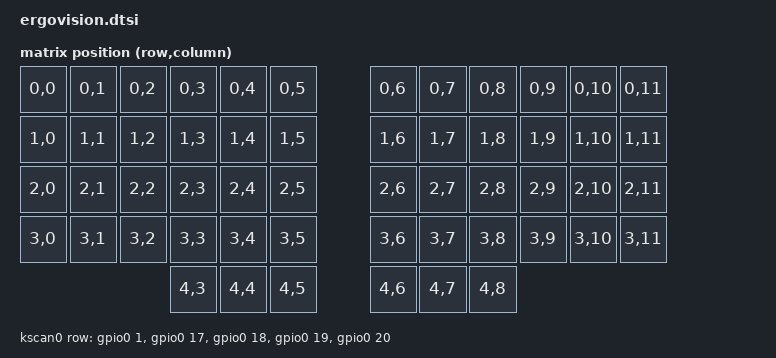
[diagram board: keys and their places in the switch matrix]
#include <dt-bindings/zmk/matrix_transform.h>


&uart0 {
    status = "okay";
};

&uart1 {
    status = "okay";
};

&i2c1 {
    status = "okay";
    sda-pin = <5>;
    scl-pin = <6>;
    clock-frequency = <I2C_BITRATE_FAST>;
    pinctrl-0 = <&i2c1_pins>;
};


pinctrl {
    i2c1_pins: i2c1_pins {
        nordic,pin-sda = <5>;
        nordic,pin-scl = <6>;
        /* Additional pin configurations if needed */
    };
};


&gpio0 {
    status = "okay";
};
 {
    chosen {
        zmk,kscan = &kscan0;
        zmk,matrix_transform = &default_transform;
        zephyr,console = &uart0;
        zephyr,shell-uart = &uart0;
        zephyr,bt-uart = &uart1;
    };

    default_transform: keymap_transform_0 {
        compatible = "zmk,matrix-transform";
        columns = <12>;
        rows = <5>;

        map = <
            RC(0,0) RC(0,1) RC(0,2) RC(0,3) RC(0,4) RC(0,5)                RC(0,6) RC(0,7) RC(0,8) RC(0,9) RC(0,10) RC(0,11)
            RC(1,0) RC(1,1) RC(1,2) RC(1,3) RC(1,4) RC(1,5)                RC(1,6) RC(1,7) RC(1,8) RC(1,9) RC(1,10) RC(1,11)
            RC(2,0) RC(2,1) RC(2,2) RC(2,3) RC(2,4) RC(2,5)                RC(2,6) RC(2,7) RC(2,8) RC(2,9) RC(2,10) RC(2,11)
            RC(3,0) RC(3,1) RC(3,2) RC(3,3) RC(3,4) RC(3,5)                RC(3,6) RC(3,7) RC(3,8) RC(3,9) RC(3,10) RC(3,11)                        
                                    RC(4,3) RC(4,4) RC(4,5)                RC(4,6) RC(4,7) RC(4,8)
        >;
    };

    kscan0: kscan {
        compatible = "zmk,kscan-gpio-matrix";
        label = "KSCAN";

        diode-direction = "row2col";
        row-gpios = <&gpio0 1 GPIO_ACTIVE_HIGH>,
                    <&gpio0 17 GPIO_ACTIVE_HIGH>,
                    <&gpio0 18 GPIO_ACTIVE_HIGH>,
                    <&gpio0 19 GPIO_ACTIVE_HIGH>,
                    <&gpio0 20 GPIO_ACTIVE_HIGH>;
    };

    trackpad0: trackpad0 {
        compatible = "cirque,trackpad";
        label = "Trackpad0";
        status = "okay";

        /* Specify the I2C bus and address for the trackpad */
        i2c-bus = <&i2c1>;  // Correct I2C bus for Trackpad0
        i2c-address = <0x12>;  // Correct I2C address for Trackpad0
        gpio-sda = <&gpio0 5 GPIO_ACTIVE_HIGH>; // GPIO pin for SDA for Trackpad0
        gpio-scl = <&gpio0 6 GPIO_ACTIVE_HIGH>; // GPIO pin for SCL for Trackpad0
    };
};
